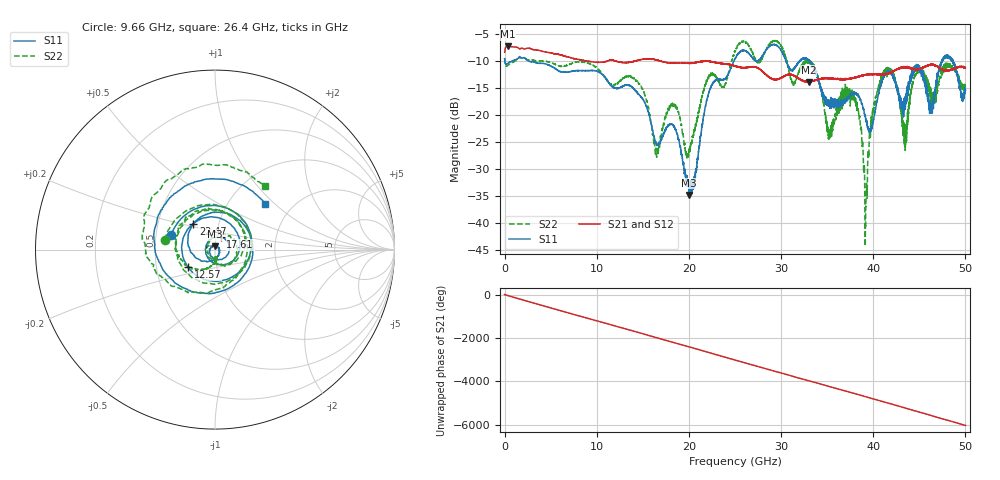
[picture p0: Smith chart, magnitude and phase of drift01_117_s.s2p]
!Created with skrf (http://scikit-rf.org).
# Hz S RI R 50.0
!freq ReS11 ImS11 ReS21 ImS21 ReS12 ImS12 ReS22 ImS22
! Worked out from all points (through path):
!   10001 points, 300 kHz to 50 GHz, reference 50 ohm
!   highest |S21| = -7.33 dB at 325.3 MHz (marker M1); lowest = -13.9 dB at 33 GHz (marker M2)
!   group delay of S21, straight-line fit = 335 ps
!   lowest |S11| = -34.8 dB at 20.01 GHz (marker M3), VSWR 1.04, Z = 49.9 + j1.82 ohm
!   |S11| at or under -10 dB: 2.556 GHz to 24.91 GHz (22.36 GHz wide, 163 % of centre); 30.53 GHz to 32.01 GHz (1.482 GHz wide, 4.74 % of centre); 33.07 GHz to 47.43 GHz (14.36 GHz wide, 35.7 % of centre) (the widest 3 of 22)
!   |S22| runs from -44.2 to -6.2 dB; largest |S21 - S12| = 0.011
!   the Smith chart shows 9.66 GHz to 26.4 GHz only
!   S11 on the Smith chart (normalised r, x): 9.66 GHz: 0.60, +0.10; 12.57 GHz: 0.73, -0.15; 17.61 GHz: 1.06, +0.15; 22.47 GHz: 0.76, +0.23; 26.4 GHz: 1.46, +0.87
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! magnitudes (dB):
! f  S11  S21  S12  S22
! 300 kHz  -9.6  -8.4  -8.5  -9.5
! 325.3 MHz  -10.5  -7.3  -7.3  -10.9
! 8.335 GHz  -11.8  -9.9  -9.8  -10.2
! 9.66 GHz  -11.8  -10.2  -10.2  -10.9
! 12.57 GHz  -14.9  -10.3  -10.3  -13.7
! 16.67 GHz  -25.6  -9.9  -9.9  -27.1
! 17.61 GHz  -22.2  -10.3  -10.3  -19.7
! 20.01 GHz  -34.8  -10.5  -10.5  -26.7
! 22.47 GHz  -14.5  -10.2  -10.2  -12.6
! 25 GHz  -9.6  -11.0  -11.0  -8.3
! 26.4 GHz  -8.5  -11.2  -11.2  -6.9
! 33 GHz  -9.9  -13.9  -13.8  -10.2
! 33.34 GHz  -10.7  -13.8  -13.7  -10.6
! 35.26 GHz  -18.1  -13.2  -13.2  -23.3
! 37.97 GHz  -15.8  -13.0  -13.0  -17.2
! 39.17 GHz  -20.5  -12.6  -12.6  -40.5
! 40.14 GHz  -19.9  -12.6  -12.5  -18.0
! 41.67 GHz  -11.8  -12.3  -12.3  -11.8
! 43.43 GHz  -18.1  -11.2  -11.3  -25.9
! 44.88 GHz  -11.3  -11.5  -11.6  -12.0
! 46.26 GHz  -19.2  -10.7  -10.7  -16.2
! 50 GHz  -15.4  -11.3  -11.4  -15.0
